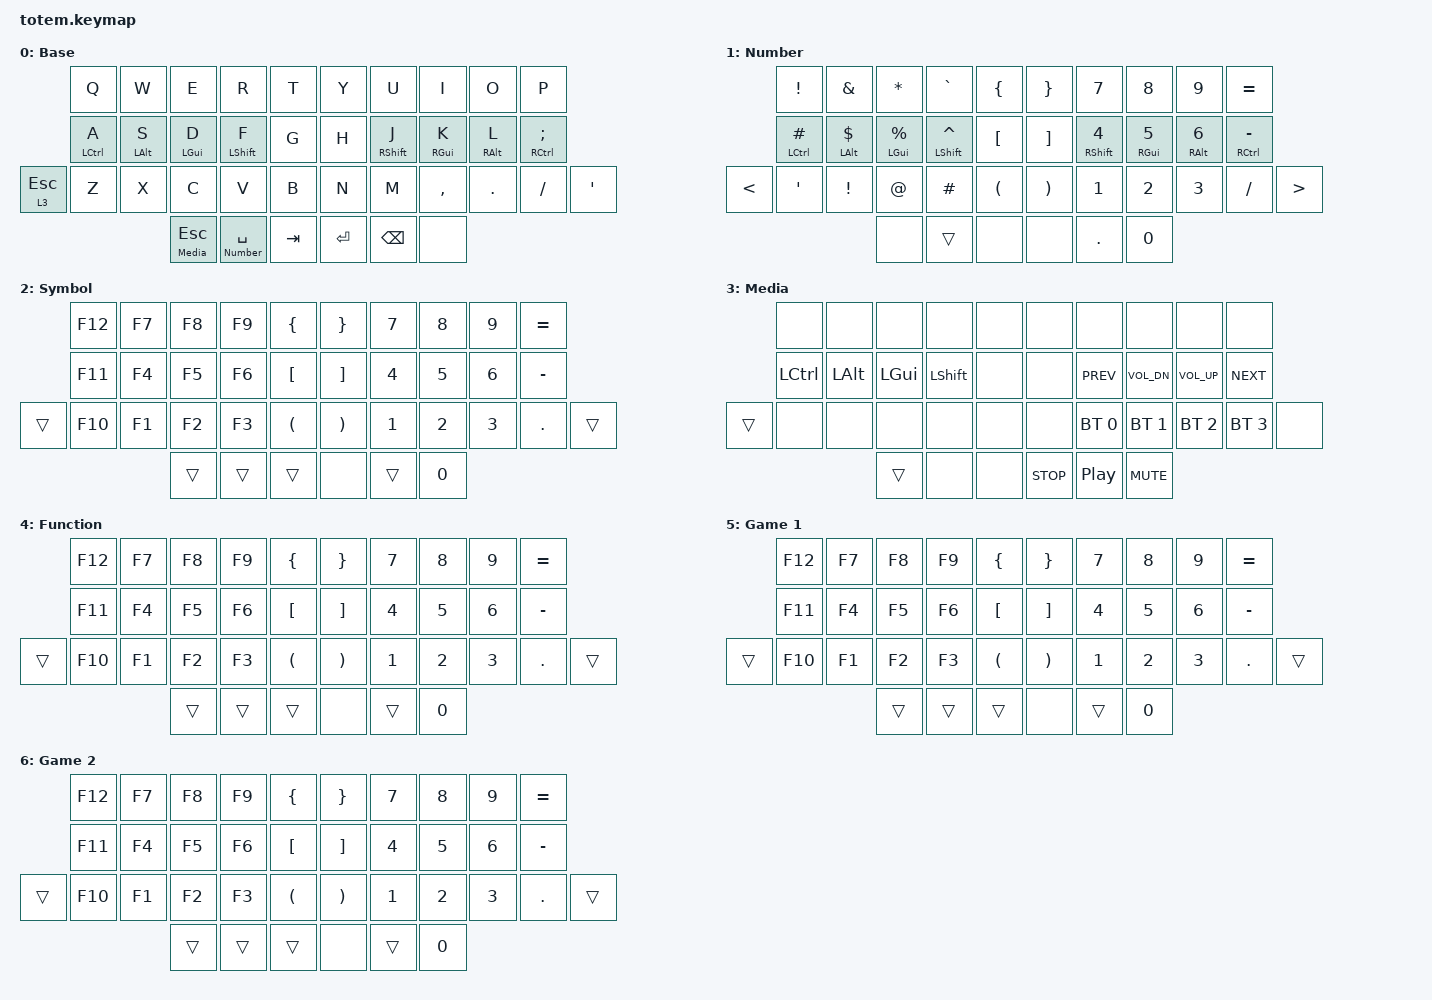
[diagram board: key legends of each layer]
//
//                                                        ▀▀▀▀▀     ▀▀▀▀▀          ▀▀█▀▀
//                                                        ▄▀▀▀▄  ▄  ▄▀▀▀▄  ▄  ▄▀▀▀▄  █  ▄▀▀▀▄
//                                                        █   █  █  █   █  █  █   █  █  █   █
//                                                         ▀▀▀   █   ▀▀▀   █   ▀▀▀   ▀   ▀▀▀
//                                                               █      ▄▄▄█▄▄▄    █   █
//                                                               ▀      █  █  █     █▄█
//                                                             ▀▀▀▀▀    █  █  █      ▀
//                                                                      ▀  ▀  ▀
//
// ▄▄▄▄▄▄▄▄▄▄▄▄▄▄▄▄▄▄▄▄▄▄▄▄▄▄▄▄▄▄▄▄▄▄▄▄▄▄▄▄▄▄▄▄▄▄▄▄▄▄▄▄▄▄▄▄▄▄▄▄▄▄▄▄▄▄▄▄▄▄▄▄▄▄▄▄▄▄▄▄▄▄▄▄▄▄▄▄▄▄▄▄▄▄▄▄▄▄▄▄▄▄▄▄▄▄▄▄▄▄▄▄▄▄▄▄▄▄▄▄▄▄▄▄▄▄▄▄▄▄▄▄▄▄▄▄▄▄▄▄▄▄▄▄▄▄▄▄▄

#include <behaviors.dtsi>
#include <dt-bindings/zmk/keys.h>
#include <dt-bindings/zmk/bt.h>
#include <dt-bindings/zmk/outputs.h>
/*
    ╭────────────────────┬────────────────────╮
    │  0   1   2   3   4 │  5   6   7   8   9 │
 ╭──╯ 10  11  12  13  14 │ 15  16  17  18  19 ╰───╮
 │ 20 21  22  23  24  25 │ 26  27  28  29  30  31 │
 ╰──────────╮ 32  33  34 │ 35  36  37 ╭───────────╯
            ╰────────────┴────────────╯
*/
// ▄▄▄▄▄▄▄▄▄▄▄▄▄▄▄▄▄▄▄▄▄▄▄▄▄▄▄▄▄▄▄▄▄▄▄▄▄▄▄▄▄▄▄▄▄▄▄▄▄▄▄▄▄▄▄▄▄▄▄▄▄▄▄▄▄▄▄▄▄▄▄▄▄▄▄▄▄▄▄▄▄▄▄▄▄▄▄▄▄▄▄▄▄▄▄▄▄▄▄▄▄▄▄▄▄▄▄▄▄▄▄▄▄▄▄▄▄▄▄▄▄▄▄▄▄▄▄▄▄▄▄▄▄▄▄▄▄▄▄▄▄▄▄▄▄▄▄▄▄
#define Base 0
#define Number 1
#define Symbol 2
#define Media 3
#define Function 4
#define Game1 5
#define Game2 6

/* Left-hand HRMs. */

&mt {
  quick-tap-ms = <100>;
  global-quick-tap;
  flavor = "tap-preferred";
  tapping-term-ms = <170>;
};

&lt {
    tapping-term-ms = <240>;
    flavor = "balanced";
    quick-tap-ms = <150>;
};

/ {
    behaviors {
        hmr: homerow_mods_right{
                compatible = "zmk,behavior-hold-tap";
               #binding-cells = <2>;
                flavor = "balanced";
                tapping-term-ms = <280>;
                quick-tap-ms = <175>;
                require-prior-idle-ms = <150>;
                bindings = <&kp>, <&kp>;
                hold-trigger-key-positions = <0 1 2 3 4 10 11 12 13 14 20 21 22 23 24 25 32 33 34>;
                hold-trigger-on-release;
        };
        hml: homerow_mods_left{
                compatible = "zmk,behavior-hold-tap";
                #binding-cells = <2>;
                flavor = "balanced";
                tapping-term-ms = <280>;
                quick-tap-ms = <175>;
                require-prior-idle-ms = <150>;
                bindings = <&kp>, <&kp>;
                hold-trigger-key-positions = <5 6 7 8 9 15 16 17 18 19 26 27 28 29 30 31 35 36 37>;
                hold-trigger-on-release;
        };
    };
     combos {
            compatible = "zmk,combos";
            combo_esc {
                timeout-ms = <50>;
                layers = <0>;
                key-positions = <0 1>;
                bindings = <&kp ESC>;
            };
        //    combo_tvp {
        //        timeout-ms = <100>;
        //        key-positions = <11 12 13>;
        //        bindings = <&tog TVP1>;
        //    };
    };

//////    macros {
//////        gif: gif {
//////            label = "giphy";
//////            compatible = "zmk,behavior-macro";
//////            #binding-cells = <0>;
//////            bindings
//////                = <&macro_press &kp LSHFT>
//////                , <&macro_tap &kp N2>
//////                , <&macro_release &kp LSHFT>
//////                , <&macro_tap &kp G &kp I &kp F>
//////                ;
//////        };
//////    };


        keymap {
                compatible = "zmk,keymap";
// Keyboard layout
//               ╭─────────────┬─────────────┬─────────────┬─────────────┬─────────────╮   ╭─────────────┬─────────────┬─────────────┬─────────────┬─────────────╮
//               ├─────────────┼─────────────┼─────────────┼─────────────┼─────────────┤   ├─────────────┼─────────────┼─────────────┼─────────────┼─────────────┤
// ╭─────────────┼─────────────┼─────────────┼─────────────┼─────────────┼─────────────┤   ├─────────────┼─────────────┼─────────────┼─────────────┼─────────────┼─────────────╮
// ╰─────────────┴─────────────┴─────────────┼─────────────┼─────────────┼─────────────┤   ├─────────────┼─────────────┼─────────────┼─────────────┴─────────────┴─────────────╯
//                                           ╰─────────────┴─────────────┴─────────────╯   ╰─────────────┴─────────────┴─────────────╯
        Base {
            label = "Base";
            bindings = <
//               ╭─────────────┬─────────────┬─────────────┬─────────────┬─────────────╮   ╭─────────────┬─────────────┬─────────────┬─────────────┬─────────────╮
                       &kp Q       &kp W          &kp E         &kp R         &kp T             &kp Y        &kp U          &kp I         &kp O         &kp P
//               ├─────────────┼─────────────┼─────────────┼─────────────┼─────────────┤   ├─────────────┼─────────────┼─────────────┼─────────────┼─────────────┤
                   &hml LCTRL A  &hml LALT S   &hml LGUI D   &hml LSHIFT F    &kp G             &kp H     &hmr RSHFT J   &hmr RGUI K   &hmr RALT L  &hmr RCTRL SEMICOLON
// ╭─────────────┼─────────────┼─────────────┼─────────────┼─────────────┼─────────────┤   ├─────────────┼─────────────┼─────────────┼─────────────┼─────────────┼─────────────╮
     &lt 3 ESC        &kp Z         &kp X         &kp C         &kp V         &kp B             &kp N        &kp M        &kp COMMA     &kp DOT      &kp SLASH    &kp APOSTROPHE
// ╰─────────────┴─────────────┴─────────────┼─────────────┼─────────────┼─────────────┤   ├─────────────┼─────────────┼─────────────┼─────────────┴─────────────┴─────────────╯
                                             &lt Media ESC &lt Number SPACE &kp TAB           &kp RET      &kp BSPC      &none
//                                           ╰─────────────┴─────────────┴─────────────╯   ╰─────────────┴─────────────┴─────────────╯
            >;
        };
        Number {
            label = "Number";
            bindings = <
//               ╭─────────────┬─────────────┬─────────────┬─────────────┬─────────────╮   ╭─────────────┬─────────────┬─────────────┬─────────────┬─────────────╮
                     &kp EXCL      &kp AMPS      &kp ASTRK     &kp GRAVE    &kp LBRC          &kp RBRC       &kp N7       &kp N8        &kp N9       &kp EQUAL
//               ├─────────────┼─────────────┼─────────────┼─────────────┼─────────────┤   ├─────────────┼─────────────┼─────────────┼─────────────┼─────────────┤
                &hml LCTRL HASH &hml LALT DLLR &hml LGUI PRCNT &hml LSHIFT CARET &kp LBKT     &kp RBKT    &hmr RSHFT N4 &hmr RGUI N5  &hmr RALT N6  &hmr RCTRL MINUS
// ╭─────────────┼─────────────┼─────────────┼─────────────┼─────────────┼─────────────┤   ├─────────────┼─────────────┼─────────────┼─────────────┼─────────────┼─────────────╮
       &kp LT      &kp APOS      &kp EXCL     &kp AT        &kp HASH    &kp LPAR           &kp RPAR        &kp N1       &kp N2        &kp N3       &kp SLASH      &kp GT
// ╰─────────────┴─────────────┴─────────────┼─────────────┼─────────────┼─────────────┤   ├─────────────┼─────────────┼─────────────┼─────────────┴─────────────┴─────────────╯
                                                  &none        &trans        &none              &none       &kp DOT         &kp N0
//                                           ╰─────────────┴─────────────┴─────────────╯   ╰─────────────┴─────────────┴─────────────╯
            >;
        };

        Symbol {
            label = "Symbol";
            bindings = <
//               ╭─────────────┬─────────────┬─────────────┬─────────────┬─────────────╮   ╭─────────────┬─────────────┬─────────────┬─────────────┬─────────────╮
                     &kp F12        &kp F7       &kp F8        &kp F9     &kp LBRC            &kp RBRC       &kp N7       &kp N8        &kp N9       &kp EQUAL
//               ├─────────────┼─────────────┼─────────────┼─────────────┼─────────────┤   ├─────────────┼─────────────┼─────────────┼─────────────┼─────────────┤
                     &kp F11        &kp F4      &kp F5        &kp F6      &kp LBKT            &kp RBKT       &kp N4       &kp N5        &kp N6       &kp MINUS
// ╭─────────────┼─────────────┼─────────────┼─────────────┼─────────────┼─────────────┤   ├─────────────┼─────────────┼─────────────┼─────────────┼─────────────┼─────────────╮
       &trans        &kp F10        &kp F1       &kp F2        &kp F3      &kp LPAR           &kp RPAR        &kp N1       &kp N2        &kp N3       &kp DOT         &trans
// ╰─────────────┴─────────────┴─────────────┼─────────────┼─────────────┼─────────────┤   ├─────────────┼─────────────┼─────────────┼─────────────┴─────────────┴─────────────╯
                                                  &trans        &trans        &trans           &none       &trans        &kp N0
//                                           ╰─────────────┴─────────────┴─────────────╯   ╰─────────────┴─────────────┴─────────────╯
            >;
        };

        Media {
            label = "Media";
            bindings = <
//               ╭─────────────┬─────────────┬─────────────┬─────────────┬─────────────╮   ╭─────────────┬─────────────┬─────────────┬─────────────┬─────────────╮
                     &none        &none          &none        &none         &none            &none         &none         &none        &none       &none
//               ├─────────────┼─────────────┼─────────────┼─────────────┼─────────────┤   ├─────────────┼─────────────┼─────────────┼─────────────┼─────────────┤
                    &kp LCTRL     &kp LALT      &kp LGUI      &kp LSHIFT     &none           &none     &kp C_PREV    &kp C_VOL_DN  &kp C_VOL_UP  &kp C_NEXT
// ╭─────────────┼─────────────┼─────────────┼─────────────┼─────────────┼─────────────┤   ├─────────────┼─────────────┼─────────────┼─────────────┼─────────────┼─────────────╮
       &trans        &none        &none          &none        &none         &none           &none     &bt BT_SEL 0  &bt BT_SEL 1  &bt BT_SEL 2  &bt BT_SEL 3    &none
// ╰─────────────┴─────────────┴─────────────┼─────────────┼─────────────┼─────────────┤   ├─────────────┼─────────────┼─────────────┼─────────────┴─────────────┴─────────────╯
                                                  &trans        &none       &none            &kp C_STOP    &kp C_PP      &kp K_MUTE
//                                           ╰─────────────┴─────────────┴─────────────╯   ╰─────────────┴─────────────┴─────────────╯
            >;
        };

        Function {
            label = "Function";
            bindings = <
//               ╭─────────────┬─────────────┬─────────────┬─────────────┬─────────────╮   ╭─────────────┬─────────────┬─────────────┬─────────────┬─────────────╮
                     &kp F12        &kp F7       &kp F8        &kp F9     &kp LBRC            &kp RBRC       &kp N7       &kp N8        &kp N9       &kp EQUAL
//               ├─────────────┼─────────────┼─────────────┼─────────────┼─────────────┤   ├─────────────┼─────────────┼─────────────┼─────────────┼─────────────┤
                     &kp F11        &kp F4      &kp F5        &kp F6      &kp LBKT            &kp RBKT       &kp N4       &kp N5        &kp N6       &kp MINUS
// ╭─────────────┼─────────────┼─────────────┼─────────────┼─────────────┼─────────────┤   ├─────────────┼─────────────┼─────────────┼─────────────┼─────────────┼─────────────╮
       &trans        &kp F10        &kp F1       &kp F2        &kp F3      &kp LPAR           &kp RPAR        &kp N1       &kp N2        &kp N3       &kp DOT         &trans
// ╰─────────────┴─────────────┴─────────────┼─────────────┼─────────────┼─────────────┤   ├─────────────┼─────────────┼─────────────┼─────────────┴─────────────┴─────────────╯
                                                  &trans        &trans        &trans           &none       &trans        &kp N0
//                                           ╰─────────────┴─────────────┴─────────────╯   ╰─────────────┴─────────────┴─────────────╯
            >;
        };

        Game1 {
            label = "Game 1";
            bindings = <
//               ╭─────────────┬─────────────┬─────────────┬─────────────┬─────────────╮   ╭─────────────┬─────────────┬─────────────┬─────────────┬─────────────╮
                     &kp F12        &kp F7       &kp F8        &kp F9     &kp LBRC            &kp RBRC       &kp N7       &kp N8        &kp N9       &kp EQUAL
//               ├─────────────┼─────────────┼─────────────┼─────────────┼─────────────┤   ├─────────────┼─────────────┼─────────────┼─────────────┼─────────────┤
                     &kp F11        &kp F4      &kp F5        &kp F6      &kp LBKT            &kp RBKT       &kp N4       &kp N5        &kp N6       &kp MINUS
// ╭─────────────┼─────────────┼─────────────┼─────────────┼─────────────┼─────────────┤   ├─────────────┼─────────────┼─────────────┼─────────────┼─────────────┼─────────────╮
       &trans        &kp F10        &kp F1       &kp F2        &kp F3      &kp LPAR           &kp RPAR        &kp N1       &kp N2        &kp N3       &kp DOT         &trans
// ╰─────────────┴─────────────┴─────────────┼─────────────┼─────────────┼─────────────┤   ├─────────────┼─────────────┼─────────────┼─────────────┴─────────────┴─────────────╯
                                                  &trans        &trans        &trans           &none       &trans        &kp N0
//                                           ╰─────────────┴─────────────┴─────────────╯   ╰─────────────┴─────────────┴─────────────╯
            >;
        };

        Game2 {
            label = "Game 2";
            bindings = <
//               ╭─────────────┬─────────────┬─────────────┬─────────────┬─────────────╮   ╭─────────────┬─────────────┬─────────────┬─────────────┬─────────────╮
                     &kp F12        &kp F7       &kp F8        &kp F9     &kp LBRC            &kp RBRC       &kp N7       &kp N8        &kp N9       &kp EQUAL
//               ├─────────────┼─────────────┼─────────────┼─────────────┼─────────────┤   ├─────────────┼─────────────┼─────────────┼─────────────┼─────────────┤
                     &kp F11        &kp F4      &kp F5        &kp F6      &kp LBKT            &kp RBKT       &kp N4       &kp N5        &kp N6       &kp MINUS
// ╭─────────────┼─────────────┼─────────────┼─────────────┼─────────────┼─────────────┤   ├─────────────┼─────────────┼─────────────┼─────────────┼─────────────┼─────────────╮
       &trans        &kp F10        &kp F1       &kp F2        &kp F3      &kp LPAR           &kp RPAR        &kp N1       &kp N2        &kp N3       &kp DOT         &trans
// ╰─────────────┴─────────────┴─────────────┼─────────────┼─────────────┼─────────────┤   ├─────────────┼─────────────┼─────────────┼─────────────┴─────────────┴─────────────╯
                                                  &trans        &trans        &trans           &none       &trans        &kp N0
//                                           ╰─────────────┴─────────────┴─────────────╯   ╰─────────────┴─────────────┴─────────────╯
            >;
        };
// ▄▄▄▄▄▄▄▄▄▄▄▄▄▄▄▄▄▄▄▄▄▄▄▄▄▄▄▄▄▄▄▄▄▄▄▄▄▄▄▄▄▄▄▄▄▄▄▄▄▄▄▄▄▄▄▄▄▄▄▄▄▄▄▄▄▄▄▄▄▄▄▄▄▄▄▄▄▄▄▄▄▄▄▄▄▄▄▄▄▄▄▄▄▄▄▄▄▄▄▄▄▄▄▄▄▄▄▄▄▄▄▄▄▄▄▄▄▄▄▄▄▄▄▄▄▄▄▄▄▄▄▄▄▄▄▄▄▄▄▄▄▄▄▄▄▄▄▄▄

        };
};



